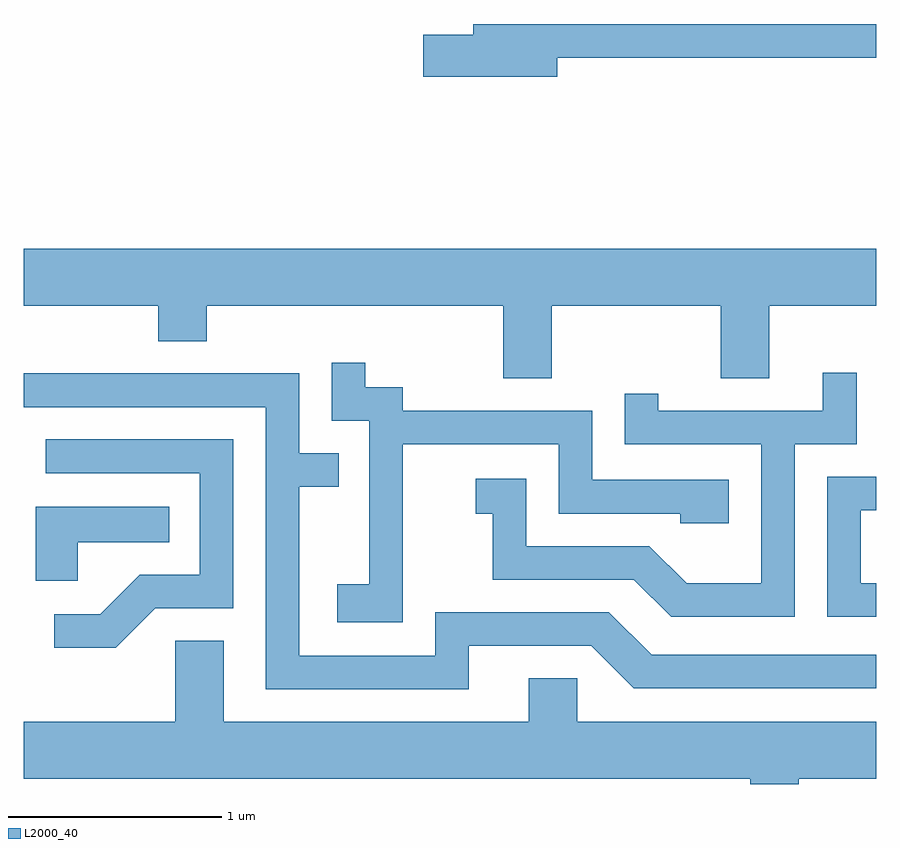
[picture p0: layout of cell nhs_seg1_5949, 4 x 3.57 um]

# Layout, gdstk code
import gdstk
lib = gdstk.Library(unit=1e-6, precision=1e-09)
def P(c, l, *ps):  # polygons
    for p in ps: c.add(gdstk.Polygon(p, *l))
L2000_40 = (2000, 40)

nhs_seg1_5949 = lib.new_cell('nhs_seg1_5949')
P(nhs_seg1_5949, L2000_40, [(366.114,965.121),(367.611,965.121),(367.611,965.279),(365.721,965.279),(365.721,965.229),(365.486,965.229),(365.486,965.031),(366.114,965.031)],
  [(366.089,963.956),(366.881,963.956),(366.881,963.616),(367.109,963.616),(367.109,963.956),(367.611,963.956),(367.611,964.224),(363.611,964.224),(363.611,963.956),(364.241,963.956),(364.241,963.791),(364.469,963.791),(364.469,963.956),(365.861,963.956),(365.861,963.616),(366.089,963.616)],
  [(365.389,963.306),(366.121,963.306),(366.121,962.981),(366.691,962.981),(366.691,962.936),(366.919,962.936),(366.919,963.139),(366.279,963.139),(366.279,963.464),(365.389,963.464),(365.389,963.574),(365.214,963.574),(365.214,963.688),(365.056,963.688),(365.056,963.416),(365.231,963.416),(365.231,962.649),(365.081,962.649),(365.081,962.471),(365.389,962.471)],
  [(367.229,963.306),(367.519,963.306),(367.519,963.643),(367.361,963.643),(367.361,963.464),(366.589,963.464),(366.589,963.543),(366.431,963.543),(366.431,963.306),(367.071,963.306),(367.071,962.654),(366.722,962.654),(366.547,962.829),(365.969,962.829),(365.969,963.144),(365.733,963.144),(365.733,962.981),(365.811,962.981),(365.811,962.671),(366.474,962.671),(366.649,962.496),(367.229,962.496)],
  [(365.699,962.361),(366.274,962.361),(366.474,962.161),(367.611,962.161),(367.611,962.319),(366.557,962.319),(366.357,962.519),(365.541,962.519),(365.541,962.314),(364.904,962.314),(364.904,963.106),(365.088,963.106),(365.088,963.264),(364.904,963.264),(364.904,963.639),(363.611,963.639),(363.611,963.481),(364.746,963.481),(364.746,962.156),(365.699,962.156)],
  [(364.227,962.536),(364.594,962.536),(364.594,963.329),(363.713,963.329),(363.713,963.171),(364.436,963.171),(364.436,962.694),(364.154,962.694),(363.969,962.509),(363.753,962.509),(363.753,962.351),(364.042,962.351)],
  [(367.611,962.654),(367.539,962.654),(367.539,962.996),(367.611,962.996),(367.611,963.154),(367.381,963.154),(367.381,962.496),(367.611,962.496)],
  [(363.864,962.846),(364.293,962.846),(364.293,963.014),(363.666,963.014),(363.666,962.666),(363.864,962.666)],
  [(367.249,961.736),(367.611,961.736),(367.611,962.004),(366.209,962.004),(366.209,962.209),(365.981,962.209),(365.981,962.004),(364.549,962.004),(364.549,962.384),(364.321,962.384),(364.321,962.004),(363.611,962.004),(363.611,961.736),(367.021,961.736),(367.021,961.712),(367.249,961.712)])

lib.write_gds('nhs_seg1_5949.gds')
